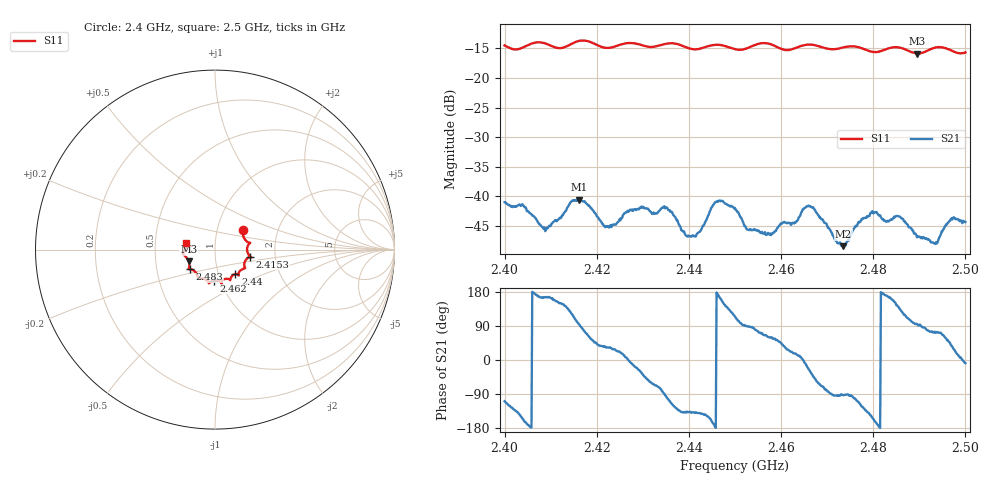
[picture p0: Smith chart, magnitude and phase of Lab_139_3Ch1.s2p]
# Hz S RI R 50
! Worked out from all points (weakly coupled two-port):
!   601 points, 2.4 GHz to 2.5 GHz, reference 50 ohm
!   highest |S21| = -40.56 dB at 2.4162 GHz (marker M1); lowest = -48.4 dB at 2.4735 GHz (marker M2)
!   lowest |S11| = -15.9 dB at 2.4895 GHz (marker M3), VSWR 1.38, Z = 36.9 - j5.01 ohm
!   |S11| at or under -10 dB: start of sweep to end of sweep
!   S12 and S22 are empty: the file has one direction only
!   S11 on the Smith chart (normalised r, x): 2.4 GHz: 1.33, +0.29; 2.4153 GHz: 1.48, -0.12; 2.44 GHz: 1.21, -0.34; 2.462 GHz: 0.93, -0.33; 2.483 GHz: 0.74, -0.17; 2.5 GHz: 0.72, +0.06
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2.4e9  0.155 0.1065  -0.0029 -0.00847  0 0  0 0
2.408833e9  0.1924 0.0352  -0.00494 0.00125  0 0  0 0
2.415333e9  0.1968 -0.0388  -0.00275 0.00883  0 0  0 0
2.416167e9  0.2011 -0.0421  -0.000708 0.00935  0 0  0 0
2.416667e9  0.2024 -0.0429  0.000578 0.00919  0 0  0 0
2.422167e9  0.1667 -0.0662  0.00468 0.00313  0 0  0 0
2.433333e9  0.1309 -0.1336  0.00238 -0.00699  0 0  0 0
2.435667e9  0.1319 -0.1448  -0.00209 -0.00734  0 0  0 0
2.44e9  0.1142 -0.1365  -0.00341 -0.0031  0 0  0 0
2.446e9  0.0847 -0.1707  -0.00903 0.000283  0 0  0 0
2.45e9  0.0648 -0.1626  -0.00335 0.00726  0 0  0 0
2.4565e9  0.0388 -0.1928  0.00205 0.00456  0 0  0 0
2.462e9  -0.00522 -0.173  0.00552 0.00227  0 0  0 0
2.466667e9  -0.0343 -0.1878  0.00645 -0.00497  0 0  0 0
2.4735e9  -0.0842 -0.1602  -0.00021 -0.0038  0 0  0 0
2.479833e9  -0.1086 -0.1256  -0.00667 -0.00345  0 0  0 0
2.483e9  -0.1376 -0.1095  -0.00605 0.00119  0 0  0 0
2.483333e9  -0.1403 -0.1094  -0.00597 0.00141  0 0  0 0
2.4895e9  -0.1464 -0.0661  -0.000426 0.0045  0 0  0 0
2.4935e9  -0.1791 -0.0245  0.00124 0.00377  0 0  0 0
2.497e9  -0.17 -0.00705  0.00518 0.00399  0 0  0 0
2.5e9  -0.1596 0.0391  0.00602 -0.000892  0 0  0 0
